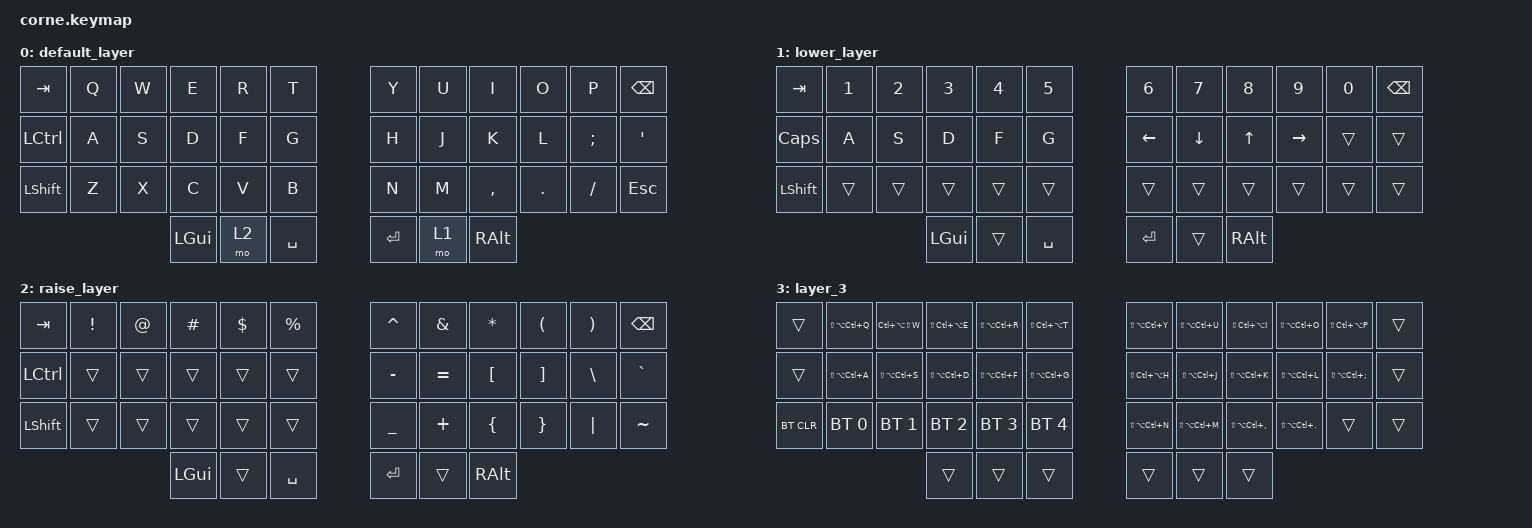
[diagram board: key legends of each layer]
/*
 * Copyright (c) 2020 The ZMK Contributors
 *
 * SPDX-License-Identifier: MIT
 */

#include <behaviors.dtsi>
#include <dt-bindings/zmk/bt.h>
#include <dt-bindings/zmk/keys.h>

/ {
    keymap {
        compatible = "zmk,keymap";

        default_layer {
            // -----------------------------------------------------------------------------------------
            // |  TAB |  Q  |  W  |  E  |  R  |  T  |   |  Y  |  U   |  I  |  O  |  P  | BKSP |
            // | CTRL |  A  |  S  |  D  |  F  |  G  |   |  H  |  J   |  K  |  L  |  ;  |  '   |
            // | SHFT |  Z  |  X  |  C  |  V  |  B  |   |  N  |  M   |  ,  |  .  |  /  | ESC  |
            //                    | GUI | LWR | SPC |   | ENT | RSE  | ALT |

            bindings = <
&kp TAB    &kp Q  &kp W  &kp E     &kp R  &kp T        &kp Y    &kp U  &kp I      &kp O    &kp P     &kp BSPC
&kp LCTRL  &kp A  &kp S  &kp D     &kp F  &kp G        &kp H    &kp J  &kp K      &kp L    &kp SEMI  &kp SQT
&kp LSHFT  &kp Z  &kp X  &kp C     &kp V  &kp B        &kp N    &kp M  &kp COMMA  &kp DOT  &kp FSLH  &kp ESC
                         &kp LGUI  &mo 2  &kp SPACE    &kp RET  &mo 1  &kp RALT
            >;
        };

        lower_layer {
            // -----------------------------------------------------------------------------------------
            // |  TAB |  1  |  2  |  3  |  4  |  5  |   |  6  |  7  |  8  |  9  |  0  | BKSP |
            // | BTCLR| BT1 | BT2 | BT3 | BT4 | BT5 |   | LFT | DWN |  UP | RGT |     |      |
            // | SHFT |     |     |     |     |     |   |     |     |     |     |     |      |
            //                    | GUI |     | SPC |   | ENT |     | ALT |

            bindings = <
&kp TAB    &kp N1  &kp N2  &kp N3    &kp N4  &kp N5       &kp N6    &kp N7    &kp N8    &kp N9     &kp N0  &kp BSPC
&kp CLCK   &kp A   &kp S   &kp D     &kp F   &kp G        &kp LEFT  &kp DOWN  &kp UP    &kp RIGHT  &trans  &trans
&kp LSHFT  &trans  &trans  &trans    &trans  &trans       &trans    &trans    &trans    &trans     &trans  &trans
                           &kp LGUI  &trans  &kp SPACE    &kp RET   &trans    &kp RALT
            >;
        };

        raise_layer {
            // -----------------------------------------------------------------------------------------
            // |  TAB |  !  |  @  |  #  |  $  |  %  |   |  ^  |  &  |  *  |  (  |  )  | BKSP |
            // | CTRL |     |     |     |     |     |   |  -  |  =  |  [  |  ]  |  \  |  `   |
            // | SHFT |     |     |     |     |     |   |  _  |  +  |  {  |  }  | "|" |  ~   |
            //                    | GUI |     | SPC |   | ENT |     | ALT |

            bindings = <
&kp TAB    &kp EXCL  &kp AT  &kp HASH  &kp DLLR  &kp PRCNT    &kp CARET  &kp AMPS   &kp ASTRK  &kp LPAR  &kp RPAR  &kp BSPC
&kp LCTRL  &trans    &trans  &trans    &trans    &trans       &kp MINUS  &kp EQUAL  &kp LBKT   &kp RBKT  &kp BSLH  &kp GRAVE
&kp LSHFT  &trans    &trans  &trans    &trans    &trans       &kp UNDER  &kp PLUS   &kp LBRC   &kp RBRC  &kp PIPE  &kp TILDE
                             &kp LGUI  &trans    &kp SPACE    &kp RET    &trans     &kp RALT
            >;
        };

        layer_3 {
            bindings = <
&trans      &kp LS(LA(LC(Q)))  &kp LC(LA(LS(W)))  &kp LS(LC(LA(E)))  &kp LS(LA(LC(R)))  &kp LS(LC(LA(T)))    &kp LS(LA(LC(Y)))  &kp LS(LA(LC(U)))  &kp LS(LC(LA(I)))      &kp LS(LA(LC(O)))       &kp LS(LC(LA(P)))          &trans
&trans      &kp LS(LA(LC(A)))  &kp LS(LA(LC(S)))  &kp LS(LA(LC(D)))  &kp LS(LA(LC(F)))  &kp LS(LA(LC(G)))    &kp LS(LC(LA(H)))  &kp LS(LA(LC(J)))  &kp LS(LA(LC(K)))      &kp LS(LA(LC(L)))       &kp LS(LA(LC(SEMICOLON)))  &trans
&bt BT_CLR  &bt BT_SEL 0       &bt BT_SEL 1       &bt BT_SEL 2       &bt BT_SEL 3       &bt BT_SEL 4         &kp LS(LA(LC(N)))  &kp LS(LA(LC(M)))  &kp LS(LA(LC(COMMA)))  &kp LS(LA(LC(PERIOD)))  &trans                     &trans
                                                  &trans             &trans             &trans               &trans             &trans             &trans
            >;
        };
    };

    conditional_layers {
        compatible = "zmk,conditional-layers";

        both {
            if-layers = <1 2>;
            then-layer = <3>;
        };
    };
};
